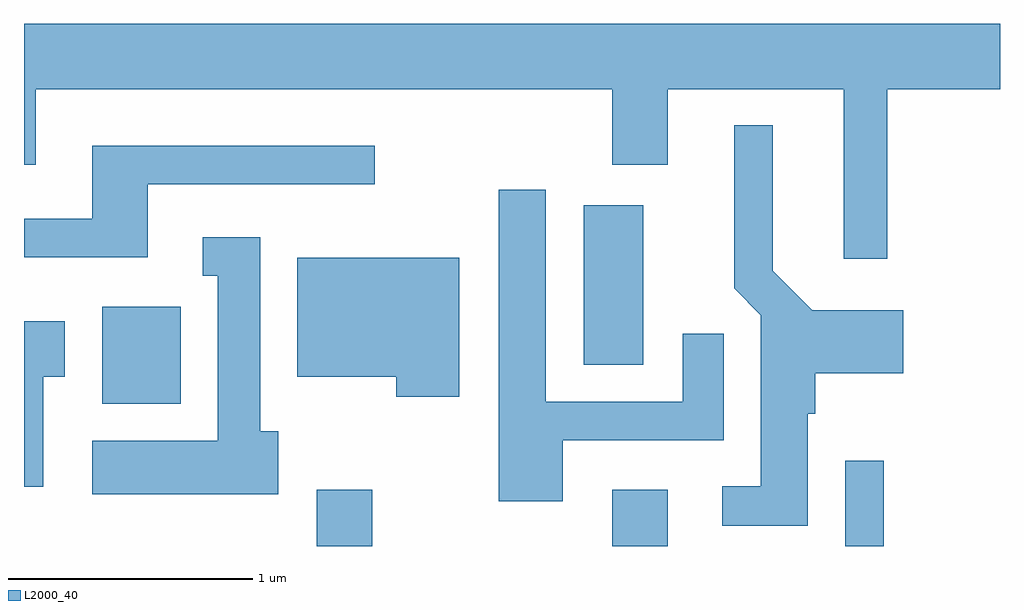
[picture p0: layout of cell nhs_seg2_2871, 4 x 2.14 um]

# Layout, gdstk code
import gdstk
lib = gdstk.Library(unit=1e-6, precision=1e-09)
def R(c, l, rs):  # rectangles x0, y0, x1, y1
    for r in rs: c.add(gdstk.rectangle(r[:2], r[2:], *l))
def P(c, l, *ps):  # polygons
    for p in ps: c.add(gdstk.Polygon(p, *l))
L2000_40 = (2000, 40)

nhs_seg2_2871 = lib.new_cell('nhs_seg2_2871')
R(nhs_seg2_2871, L2000_40, [(270.811,1019.802,271.039,1020.034), (272.021,1019.802,272.249,1020.034), (272.976,1019.802,273.134,1020.153), (269.931,1020.386,270.254,1020.784), (271.906,1020.546,272.149,1021.199)])
P(nhs_seg2_2871, L2000_40, [(273.149,1021.676),(273.611,1021.676),(273.611,1021.944),(269.611,1021.944),(269.611,1021.366),(269.659,1021.366),(269.659,1021.676),(272.021,1021.676),(272.021,1021.366),(272.249,1021.366),(272.249,1021.676),(272.971,1021.676),(272.971,1020.981),(273.149,1020.981)],
  [(272.824,1020.346),(272.854,1020.346),(272.854,1020.511),(273.214,1020.511),(273.214,1020.769),(272.842,1020.769),(272.679,1020.932),(272.679,1021.528),(272.521,1021.528),(272.521,1020.859),(272.631,1020.749),(272.631,1020.049),(272.473,1020.049),(272.473,1019.886),(272.824,1019.886)],
  [(270.119,1021.286),(271.048,1021.286),(271.048,1021.444),(269.891,1021.444),(269.891,1021.144),(269.611,1021.144),(269.611,1020.986),(270.119,1020.986)],
  [(271.819,1020.236),(272.479,1020.236),(272.479,1020.673),(272.311,1020.673),(272.311,1020.394),(271.749,1020.394),(271.749,1021.264),(271.556,1021.264),(271.556,1019.986),(271.819,1019.986)],
  [(270.654,1020.274),(270.579,1020.274),(270.579,1021.069),(270.343,1021.069),(270.343,1020.911),(270.406,1020.911),(270.406,1020.234),(269.891,1020.234),(269.891,1020.016),(270.654,1020.016)],
  [(271.394,1020.984),(270.731,1020.984),(270.731,1020.496),(271.136,1020.496),(271.136,1020.416),(271.394,1020.416)],
  [(269.689,1020.496),(269.779,1020.496),(269.779,1020.724),(269.611,1020.724),(269.611,1020.046),(269.689,1020.046)])

lib.write_gds('nhs_seg2_2871.gds')
